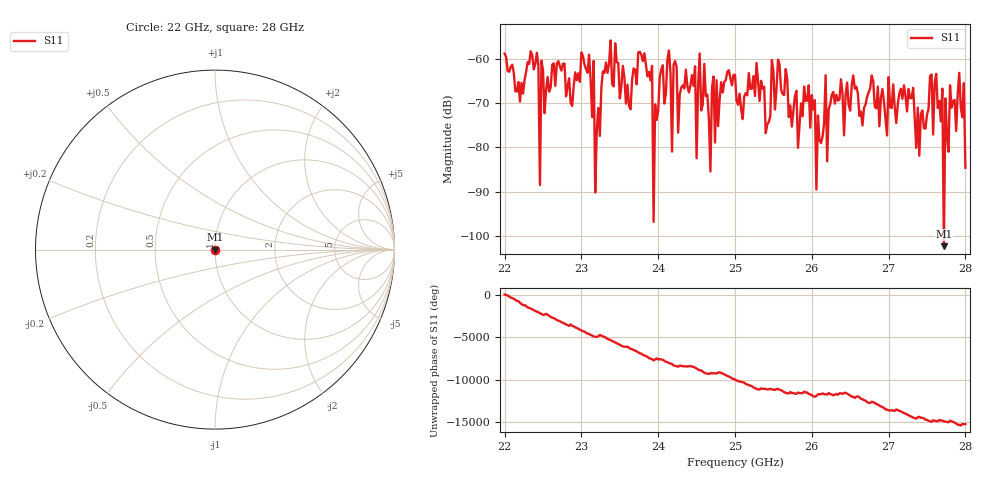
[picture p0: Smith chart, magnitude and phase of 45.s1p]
#  HZ  S  RI  R  50.00
! Rohde & Schwarz ZVA40 4Ports - Version 3.90 - 1145.1110k42 SN: 100403
! Date: 2023-10-04 07:55:58
! Measurement: S12
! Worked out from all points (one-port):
!   301 points, 22 GHz to 28 GHz, reference 50 ohm
!   lowest |S11| = -102.3 dB at 27.72 GHz (marker M1), VSWR 1.00, Z = 50 - j0.000298 ohm
!   |S11| at or under -10 dB: start of sweep to end of sweep
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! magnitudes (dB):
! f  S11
! 22 GHz  -58.9
! 22.42 GHz  -58.7
! 22.46 GHz  -88.5
! 22.48 GHz  -60.5
! 22.76 GHz  -61.2
! 23.16 GHz  -60.5
! 23.18 GHz  -90.2
! 23.38 GHz  -55.9
! 23.5 GHz  -69.0
! 23.82 GHz  -58.8
! 23.92 GHz  -61.6
! 23.94 GHz  -96.8
! 24.14 GHz  -58.2
! 24.18 GHz  -81.0
! 24.22 GHz  -60.6
! 24.26 GHz  -76.7
! 24.5 GHz  -82.5
! 24.54 GHz  -58.9
! 24.68 GHz  -85.5
! 25 GHz  -63.7
! 25.76 GHz  -71.8
! 26.5 GHz  -71.7
! 27.26 GHz  -66.8
! 27.4 GHz  -81.9
! 27.62 GHz  -63.5
! 27.72 GHz  -102.3
! 27.92 GHz  -63.2
! 28 GHz  -84.6
